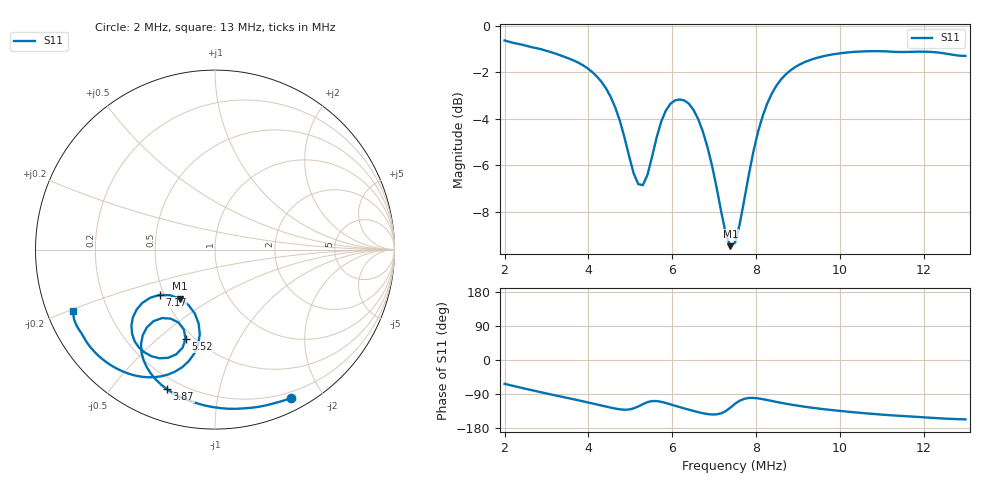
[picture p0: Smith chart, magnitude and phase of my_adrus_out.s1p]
# Hz S RI R 50
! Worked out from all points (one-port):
!   101 points, 2 MHz to 13 MHz, reference 50 ohm
!   lowest |S11| = -9.5 dB at 7.39 MHz (marker M1), VSWR 2.01, Z = 29.5 - j18.1 ohm
!   |S11| at or under -10 dB: nowhere
!   S11 on the Smith chart (normalised r, x): 2 MHz: 0.13, -1.63; 3.87 MHz: 0.15, -0.70; 5.52 MHz: 0.45, -0.62; 7.17 MHz: 0.47, -0.28; 13 MHz: 0.08, -0.21
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2000000  0.4243 -0.8271
2770000  0.1152 -0.8871
3430000  -0.1268 -0.8477
3870000  -0.268 -0.7774
4420000  -0.3978 -0.6166
4750000  -0.4029 -0.4781
4970000  -0.3425 -0.3987
5080000  -0.2948 -0.3815
5300000  -0.2037 -0.4064
5520000  -0.1642 -0.4967
5630000  -0.1806 -0.5468
5850000  -0.2621 -0.6032
6180000  -0.3914 -0.5736
6510000  -0.4615 -0.4709
6730000  -0.4576 -0.3778
6950000  -0.4043 -0.2964
7170000  -0.3088 -0.2527
7390000  -0.1961 -0.2731
7500000  -0.1479 -0.3086
7720000  -0.091 -0.4123
7940000  -0.0939 -0.5287
8160000  -0.1469 -0.6222
8380000  -0.2223 -0.6797
8930000  -0.3997 -0.7095
9480000  -0.525 -0.6738
1.025e7  -0.6415 -0.598
1.168e7  -0.7528 -0.4529
1.3e7  -0.7904 -0.3417
